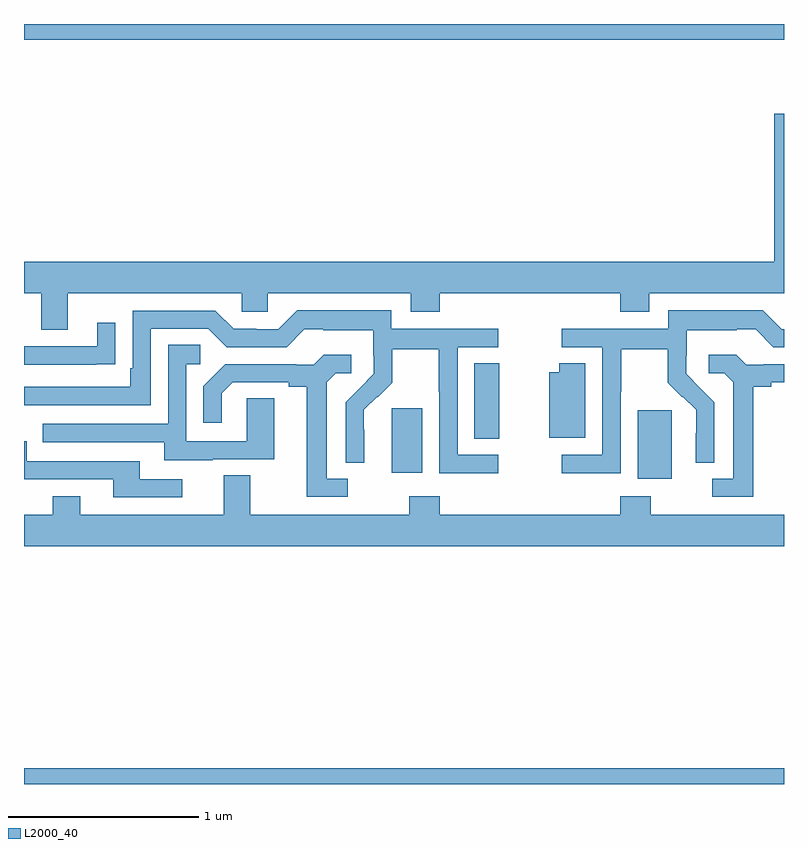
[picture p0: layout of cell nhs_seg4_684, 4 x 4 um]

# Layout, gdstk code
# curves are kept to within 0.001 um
import gdstk
lib = gdstk.Library(unit=1e-6, precision=1e-09)
def R(c, l, rs):  # rectangles x0, y0, x1, y1
    for r in rs: c.add(gdstk.rectangle(r[:2], r[2:], *l))
def P(c, l, *ps):  # polygons
    for p in ps: c.add(gdstk.Polygon(p, *l))
L2000_40 = (2000, 40)

nhs_seg4_684 = lib.new_cell('nhs_seg4_684')
R(nhs_seg4_684, L2000_40, [(145,796.9,149,796.984), (148.229,798.506,148.408,798.867), (146.936,798.537,147.097,798.877), (147.371,798.718,147.502,799.115), (145,800.816,149,800.9)])
P(nhs_seg4_684, L2000_40, [(145.231,799.484),(146.145,799.484),(146.145,799.386),(146.283,799.386),(146.283,799.484),(147.035,799.484),(147.035,799.385),(147.188,799.385),(147.188,799.484),(148.139,799.484),(148.139,799.385),(148.291,799.385),(148.291,799.484),(149,799.484),(149,800.428),(148.949,800.428),(148.949,799.648),(145,799.648),(145,799.484),(145.091,799.484),(145.091,799.29),(145.231,799.29)],
  [(147.496,798.633),(147.282,798.633),(147.282,799.2),(147.496,799.2),(147.496,799.296),(146.934,799.296),(146.934,799.393),(146.437,799.393),(146.337,799.293),(146.222,799.293),(146.222,799.296),(146.103,799.296),(146.007,799.392),(145.572,799.392),(145.572,799.087),(145.559,799.087),(145.559,798.99),(145,798.99),(145,798.894),(145.668,798.894),(145.668,799.296),(145.971,799.296),(146.067,799.2),(146.382,799.2),(146.475,799.293),(146.575,799.293),(146.575,799.289),(146.838,799.289),(146.838,799.155),(146.84,799.155),(146.84,799.058),(146.694,798.91),(146.694,798.592),(146.791,798.592),(146.791,798.764),(146.789,798.764),(146.789,798.869),(146.859,798.939),(146.862,798.936),(146.939,799.013),(146.939,799.188),(147.184,799.188),(147.184,798.964),(147.186,798.964),(147.186,798.535),(147.496,798.535)],
  [(148.14,798.964),(148.143,798.964),(148.143,799.188),(148.387,799.188),(148.387,799.013),(148.464,798.936),(148.467,798.939),(148.538,798.869),(148.538,798.746),(148.536,798.746),(148.536,798.592),(148.632,798.592),(148.632,798.91),(148.486,799.058),(148.486,799.155),(148.488,799.155),(148.488,799.289),(148.751,799.289),(148.751,799.293),(148.851,799.293),(148.944,799.2),(149,799.2),(149,799.293),(148.989,799.293),(148.889,799.393),(148.392,799.393),(148.392,799.296),(147.831,799.296),(147.831,799.2),(148.044,799.2),(148.044,798.633),(147.831,798.633),(147.831,798.535),(148.14,798.535)],
  [(145.379,799.108),(145.481,799.108),(145.481,799.327),(145.385,799.327),(145.385,799.203),(145,799.203),(145,799.107),(145.379,799.107)],
  [(145.993,798.609),(146.317,798.609),(146.317,798.929),(146.172,798.929),(146.172,798.705),(145.854,798.705),(145.854,799.11),(145.927,799.11),(145.927,799.211),(145.758,799.211),(145.758,798.795),(145.099,798.795),(145.099,798.699),(145.739,798.699),(145.739,798.605),(145.993,798.605)],
  [(148.837,798.992),(148.933,798.992),(148.933,799.014),(149,799.014),(149,799.11),(148.894,799.11),(148.894,799.107),(148.8,799.107),(148.748,799.159),(148.605,799.159),(148.605,799.062),(148.686,799.062),(148.733,799.015),(148.733,798.507),(148.623,798.507),(148.623,798.411),(148.837,798.411)],
  [(146.704,798.507),(146.593,798.507),(146.593,799.015),(146.64,799.062),(146.722,799.062),(146.722,799.159),(146.578,799.159),(146.526,799.107),(146.432,799.107),(146.432,799.11),(146.06,799.11),(145.944,798.994),(145.944,798.801),(146.041,798.801),(146.041,798.957),(146.098,799.014),(146.393,799.014),(146.393,798.992),(146.489,798.992),(146.489,798.411),(146.704,798.411)],
  [(147.955,799.115),(147.817,799.115),(147.817,799.066),(147.764,799.066),(147.764,798.722),(147.955,798.722)],
  [(145.834,798.504),(145.609,798.504),(145.609,798.6),(145.014,798.6),(145.014,798.703),(145,798.703),(145,798.504),(145.469,798.504),(145.469,798.408),(145.834,798.408)],
  [(149,798.316),(148.299,798.316),(148.299,798.415),(148.139,798.415),(148.139,798.316),(147.188,798.316),(147.188,798.415),(147.028,798.415),(147.028,798.316),(146.191,798.316),(146.191,798.524),(146.051,798.524),(146.051,798.316),(145.297,798.316),(145.297,798.415),(145.15,798.415),(145.15,798.316),(145,798.316),(145,798.152),(149,798.152)])

lib.write_gds('nhs_seg4_684.gds')
